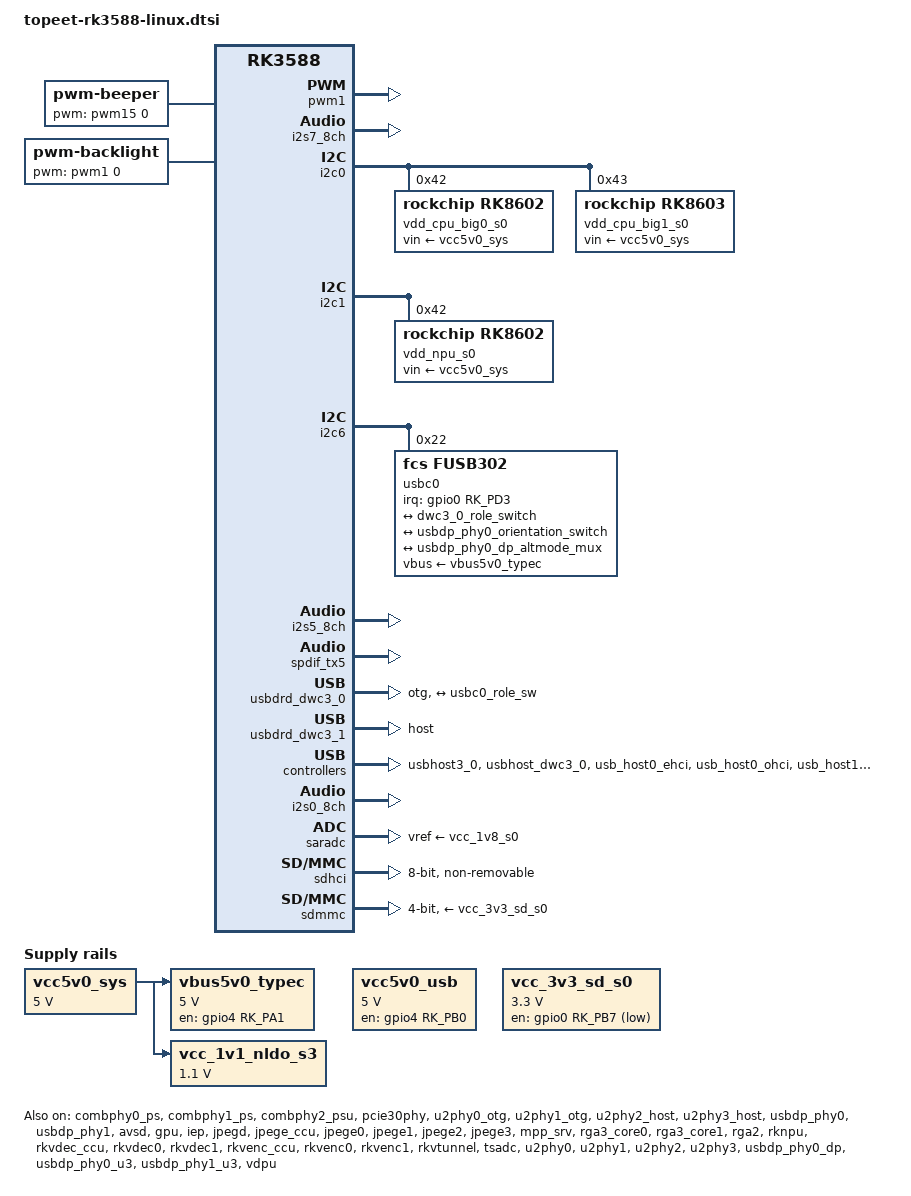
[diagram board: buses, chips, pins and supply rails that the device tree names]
// SPDX-License-Identifier: (GPL-2.0+ OR MIT)
/*
 * Copyright (c) 2021 Rockchip Electronics Co., Ltd.
 *
 */
#include <dt-bindings/gpio/gpio.h>
#include <dt-bindings/pwm/pwm.h>
#include <dt-bindings/pinctrl/rockchip.h>
#include <dt-bindings/input/rk-input.h>
#include <dt-bindings/display/drm_mipi_dsi.h>
#include <dt-bindings/display/rockchip_vop.h>
#include <dt-bindings/sensor-dev.h>
#include "dt-bindings/usb/pd.h"
#include "rk3588.dtsi"
#include "rk3588-rk806-single.dtsi"

/ {
	// HDMI0声卡
	hdmi0_sound: hdmi0-sound {
		status = "disabled";
		compatible = "rockchip,hdmi";
		rockchip,mclk-fs = <128>;
		rockchip,card-name = "rockchip-hdmi0";
		rockchip,cpu = <&i2s5_8ch>;
		rockchip,codec = <&hdmi0>;
		rockchip,jack-det;
	};

	// HDMI1声卡
	hdmi1_sound: hdmi1-sound {
		status = "disabled";
		compatible = "rockchip,hdmi";
		rockchip,mclk-fs = <128>;
		rockchip,card-name = "rockchip-hdmi1";
		rockchip,cpu = <&i2s6_8ch>;
		rockchip,codec = <&hdmi1>;
		rockchip,jack-det;
	};

	// DP0声卡
	dp0_sound: dp0-sound {
		status = "disabled";
		compatible = "rockchip,hdmi";
		rockchip,card-name= "rockchip-dp0";
		rockchip,mclk-fs = <512>;
		rockchip,cpu = <&spdif_tx2>;
		rockchip,codec = <&dp0 1>;
		rockchip,jack-det;
	};

	//HDMI in
    hdmiin-sound {
        compatible = "rockchip,hdmi";
        rockchip,mclk-fs = <128>;
        rockchip,format = "i2s";
        rockchip,bitclock-master = <&hdmirx_ctrler>;
        rockchip,frame-master = <&hdmirx_ctrler>;
        rockchip,card-name = "rockchip,hdmiin";
        rockchip,cpu = <&i2s7_8ch>;
        rockchip,codec = <&hdmirx_ctrler 0>;
        rockchip,jack-det;
    };

	// 5V系统供电
	vcc5v0_sys: vcc5v0-sys {
		compatible = "regulator-fixed";
		regulator-name = "vcc5v0_sys";
		regulator-always-on;
		regulator-boot-on;
		regulator-min-microvolt = <5000000>;
		regulator-max-microvolt = <5000000>;
	};

	//USB2.0 3.0 5V供电
	vcc5v0_usb: vcc5v0-usb {
		compatible = "regulator-fixed";
		regulator-name = "vcc5v0_usb";
		regulator-always-on;
		regulator-boot-on;
		enable-active-high;
		regulator-min-microvolt = <5000000>;
		regulator-max-microvolt = <5000000>;
		gpio = <&gpio4 RK_PB0 GPIO_ACTIVE_HIGH>;
	};

	//TYPEC 5V供电
	vbus5v0_typec: vbus5v0-typec {
		compatible = "regulator-fixed";
		regulator-name = "vbus5v0_typec";
		regulator-min-microvolt = <5000000>;
		regulator-max-microvolt = <5000000>;
        	//regulator-boot-on;
        	enable-active-high;
        	//regulator-always-on;
		gpio = <&gpio4 RK_PA1 GPIO_ACTIVE_HIGH>;
		vin-supply = <&vcc5v0_sys>;
		pinctrl-names = "default";
		pinctrl-0 = <&typec5v_pwren>;
	};

	//SD卡供电
	vcc_3v3_sd_s0: vcc-3v3-sd-s0-regulator {
		compatible = "regulator-fixed";
		/* The VCC_SD load-switch enable on this board is active low. */
		gpio = <&gpio0 RK_PB7 GPIO_ACTIVE_LOW>;
		pinctrl-names = "default";
		pinctrl-0 = <&sd_s0_pwr>;
		regulator-name = "vcc_3v3_sd_s0";
		regulator-boot-on;
		regulator-min-microvolt = <3300000>;
		regulator-max-microvolt = <3300000>;
		startup-delay-us = <200000>;
	};

	vcc_1v1_nldo_s3: vcc-1v1-nldo-s3 {
		compatible = "regulator-fixed";
		regulator-name = "vcc_1v1_nldo_s3";
		regulator-always-on;
		regulator-boot-on;
		regulator-min-microvolt = <1100000>;
		regulator-max-microvolt = <1100000>;
		vin-supply = <&vcc5v0_sys>;
	};

	//蜂鸣器
	beeper: pwm-beeper {
		compatible = "pwm-beeper";
		pwms = <&pwm15 0 500000 0>;
		beeper-hz = <1000>;
		status = "okay";
	};

	//屏幕背光
	backlight: backlight {
		compatible = "pwm-backlight";
		pwms = <&pwm1 0 25000 0>;
		brightness-levels = <
			  0  20  20  21  21  22  22  23
			 23  24  24  25  25  26  26  27
			 27  28  28  29  29  30  30  31
			 31  32  32  33  33  34  34  35
			 35  36  36  37  37  38  38  39
			 40  41  42  43  44  45  46  47
			 48  49  50  51  52  53  54  55
			 56  57  58  59  60  61  62  63
			 64  65  66  67  68  69  70  71
			 72  73  74  75  76  77  78  79
			 80  81  82  83  84  85  86  87
			 88  89  90  91  92  93  94  95
			 96  97  98  99 100 101 102 103
			104 105 106 107 108 109 110 111
			112 113 114 115 116 117 118 119
			120 121 122 123 124 125 126 127
			128 129 130 131 132 133 134 135
			136 137 138 139 140 141 142 143
			144 145 146 147 148 149 150 151
			152 153 154 155 156 157 158 159
			160 161 162 163 164 165 166 167
			168 169 170 171 172 173 174 175
			176 177 178 179 180 181 182 183
			184 185 186 187 188 189 190 191
			192 193 194 195 196 197 198 199
			200 201 202 203 204 205 206 207
			208 209 210 211 212 213 214 215
			216 217 218 219 220 221 222 223
			224 225 226 227 228 229 230 231
			232 233 234 235 236 237 238 239
			240 241 242 243 244 245 246 247
			248 249 250 251 252 253 254 255
		>;
		default-brightness-level = <200>;
	};

};

&backlight {
	status = "okay";
};

&pwm1 {
	status = "okay";
};

&i2s7_8ch {
        status = "okay";
};

&i2c0 {
	status = "okay";
	pinctrl-names = "default";
	pinctrl-0 = <&i2c0m2_xfer>;

	vdd_cpu_big0_s0: vdd_cpu_big0_mem_s0: rk8602@42 {
		compatible = "rockchip,rk8602";
		reg = <0x42>;
		vin-supply = <&vcc5v0_sys>;
		regulator-compatible = "rk860x-reg";
		regulator-name = "vdd_cpu_big0_s0";
		regulator-min-microvolt = <550000>;
		regulator-max-microvolt = <1050000>;
		regulator-ramp-delay = <2300>;
		rockchip,suspend-voltage-selector = <1>;
		regulator-boot-on;
		regulator-always-on;
		regulator-state-mem {
			regulator-off-in-suspend;
		};
	};

	vdd_cpu_big1_s0: vdd_cpu_big1_mem_s0: rk8603@43 {
		compatible = "rockchip,rk8603";
		reg = <0x43>;
		vin-supply = <&vcc5v0_sys>;
		regulator-compatible = "rk860x-reg";
		regulator-name = "vdd_cpu_big1_s0";
		regulator-min-microvolt = <550000>;
		regulator-max-microvolt = <1050000>;
		regulator-ramp-delay = <2300>;
		rockchip,suspend-voltage-selector = <1>;
		regulator-boot-on;
		regulator-always-on;
		regulator-state-mem {
			regulator-off-in-suspend;
		};
	};
};

&i2c1 {
	status = "okay";
	pinctrl-names = "default";
	pinctrl-0 = <&i2c1m2_xfer>;

	vdd_npu_s0: vdd_npu_mem_s0: rk8602@42 {
		compatible = "rockchip,rk8602";
		reg = <0x42>;
		vin-supply = <&vcc5v0_sys>;
		regulator-compatible = "rk860x-reg";
		regulator-name = "vdd_npu_s0";
		regulator-min-microvolt = <550000>;
		regulator-max-microvolt = <950000>;
		regulator-ramp-delay = <2300>;
		rockchip,suspend-voltage-selector = <1>;
		regulator-boot-on;
		regulator-always-on;
		regulator-state-mem {
			regulator-off-in-suspend;
		};
	};
};


&combphy0_ps {
	status = "okay";
};

&combphy1_ps {
	status = "okay";
};

&combphy2_psu {
	status = "okay";
};


&i2c6 {
	status = "okay";

		usbc0: fusb302@22 {
			compatible = "fcs,fusb302";
			reg = <0x22>;
			interrupt-parent = <&gpio0>;
			interrupts = <RK_PD3 IRQ_TYPE_LEVEL_LOW>;
			pinctrl-names = "default";
			pinctrl-0 = <&usbc0_int>;
			vbus-supply = <&vbus5v0_typec>;
			status = "okay";

			ports {
					#address-cells = <1>;
					#size-cells = <0>;

					port@0 {
							reg = <0>;
							usbc0_role_sw: endpoint@0 {
									remote-endpoint = <&dwc3_0_role_switch>;
							};
					};
			};

			usb_con: connector {
					compatible = "usb-c-connector";
					label = "USB-C";
					data-role = "dual";
					power-role = "dual";
					try-power-role = "sink";
					op-sink-microwatt = <1000000>;
					
					sink-pdos =<PDO_FIXED(5000, 1000, PDO_FIXED_USB_COMM)>;
					source-pdos =<PDO_FIXED(5000, 1000, PDO_FIXED_USB_COMM)>;

					altmodes {
							#address-cells = <1>;
							#size-cells = <0>;

							altmode@0 {
									reg = <0>;
									svid = <0xff01>;
									vdo = <0xffffffff>;
							};
					};

					ports {
							#address-cells = <1>;
							#size-cells = <0>;

							port@0 {
									reg = <0>;
									usbc0_orien_sw: endpoint {
											remote-endpoint = <&usbdp_phy0_orientation_switch>;
									};
							};

							port@1 {
									reg = <1>;
									dp_altmode_mux: endpoint {
											remote-endpoint = <&usbdp_phy0_dp_altmode_mux>;
									};
							};

					};
			};
	};
};

&i2s5_8ch {
	status = "okay";
};

&pcie30phy {
	status = "okay";
};


&pinctrl {
	usb-typec {
		usbc0_int: usbc0-int {
			rockchip,pins = <0 RK_PD3 RK_FUNC_GPIO &pcfg_pull_up>;
		};

		typec5v_pwren: typec5v-pwren {
			rockchip,pins = <4 RK_PA1 RK_FUNC_GPIO &pcfg_pull_none>;
		};
	};

	sdmmc {
		sd_s0_pwr: sd-s0-pwr {
			rockchip,pins = <0 RK_PB7 RK_FUNC_GPIO &pcfg_pull_up>;
		};

		/* Prevent SD-card back-powering through CMD/CLK/DAT[0:3]. */
		sdmmc_idle_pins: sdmmc-idle-pins {
			rockchip,pins =
				<4 RK_PD0 RK_FUNC_GPIO &pcfg_pull_down>,
				<4 RK_PD1 RK_FUNC_GPIO &pcfg_pull_down>,
				<4 RK_PD2 RK_FUNC_GPIO &pcfg_pull_down>,
				<4 RK_PD3 RK_FUNC_GPIO &pcfg_pull_down>,
				<4 RK_PD4 RK_FUNC_GPIO &pcfg_pull_down>,
				<4 RK_PD5 RK_FUNC_GPIO &pcfg_pull_down>;
		};
	};
};


&spdif_tx5 {
	status = "okay";
};

&u2phy0_otg {
	rockchip,typec-vbus-det;
};

&u2phy1_otg {
        status = "okay";
};

&u2phy2_host {
        status = "okay";
};

&u2phy3_host {
        status = "okay";
};

&usbdp_phy0 {
	status = "okay";
	orientation-switch;
	mode-switch;
	rockchip,dp-lane-mux = <0 1 2 3>;
	svid = <0xff01>;
	sbu1-dc-gpios = <&gpio4 RK_PA6 GPIO_ACTIVE_HIGH>;
	sbu2-dc-gpios = <&gpio4 RK_PA7 GPIO_ACTIVE_HIGH>;

	port {
		#address-cells = <1>;
		#size-cells = <0>;
		usbdp_phy0_orientation_switch: endpoint@0 {
			reg = <0>;
			remote-endpoint = <&usbc0_orien_sw>;
		};

		usbdp_phy0_dp_altmode_mux: endpoint@1 {
			reg = <1>;
			remote-endpoint = <&dp_altmode_mux>;
		};
	};
};


&usbdrd_dwc3_0 {
	status = "okay";
	dr_mode = "otg";
	usb-role-switch;
	port {
		#address-cells = <1>;
		#size-cells = <0>;
		dwc3_0_role_switch: endpoint@0 {
			reg = <0>;
			remote-endpoint = <&usbc0_role_sw>;
		};
	};
};

&usbdp_phy1 {
        status = "okay";
};


&usbdrd_dwc3_1 {
        status = "okay";
        dr_mode = "host";
};


&usbhost3_0 {
        status = "okay";
};

&usbhost_dwc3_0 {
        status = "okay";
};
&av1d_mmu {
	status = "okay";
};

&avsd {
	status = "okay";
};

&cpu_l0 {
	cpu-supply = <&vdd_cpu_lit_s0>;
	mem-supply = <&vdd_cpu_lit_mem_s0>;
};

&cpu_b0 {
	cpu-supply = <&vdd_cpu_big0_s0>;
	mem-supply = <&vdd_cpu_big0_mem_s0>;
};

&cpu_b2 {
	cpu-supply = <&vdd_cpu_big1_s0>;
	mem-supply = <&vdd_cpu_big1_mem_s0>;
};


&gpu {
	mali-supply = <&vdd_gpu_s0>;
	mem-supply = <&vdd_gpu_mem_s0>;
	status = "okay";
};

&i2s0_8ch {
	status = "okay";
	pinctrl-0 = <&i2s0_lrck
		     &i2s0_sclk
		     &i2s0_sdi0
		     &i2s0_sdo0>;
};

&iep {
	status = "okay";
};

&iep_mmu {
	status = "okay";
};

&jpegd {
	status = "okay";
};

&jpegd_mmu {
	status = "okay";
};

&jpege_ccu {
	status = "okay";
};

&jpege0 {
	status = "okay";
};

&jpege0_mmu {
	status = "okay";
};

&jpege1 {
	status = "okay";
};

&jpege1_mmu {
	status = "okay";
};

&jpege2 {
	status = "okay";
};

&jpege2_mmu {
	status = "okay";
};

&jpege3 {
	status = "okay";
};

&jpege3_mmu {
	status = "okay";
};

&mpp_srv {
	status = "okay";
};

&rga3_core0 {
	status = "okay";
};

&rga3_0_mmu {
	status = "okay";
};

&rga3_core1 {
	status = "okay";
};

&rga3_1_mmu {
	status = "okay";
};

&rga2 {
	status = "okay";
};

&rknpu {
	rknpu-supply = <&vdd_npu_s0>;
	mem-supply = <&vdd_npu_mem_s0>;
	status = "okay";
};

&rknpu_mmu {
	status = "okay";
};

&rkvdec_ccu {
	status = "okay";
};

&rkvdec0 {
	status = "okay";
};

&rkvdec0_mmu {
	status = "okay";
};

&rkvdec1 {
	status = "okay";
};

&rkvdec1_mmu {
	status = "okay";
};

&rkvenc_ccu {
	status = "okay";
};

&rkvenc0 {
	venc-supply = <&vdd_vdenc_s0>;
	mem-supply = <&vdd_vdenc_mem_s0>;
	status = "okay";
};

&rkvenc0_mmu {
	status = "okay";
};

&rkvenc1 {
	venc-supply = <&vdd_vdenc_s0>;
	mem-supply = <&vdd_vdenc_mem_s0>;
	status = "okay";
};

&rkvenc1_mmu {
	status = "okay";
};

&rkvtunnel {
	status = "okay";
};

&rockchip_suspend {
	status = "okay";
	rockchip,sleep-debug-en = <1>;
};

&saradc {
	status = "okay";
	vref-supply = <&vcc_1v8_s0>;
};

&sdhci {
	bus-width = <8>;
	no-sdio;
	no-sd;
	non-removable;
	max-frequency = <200000000>;
	mmc-hs400-1_8v;
	mmc-hs400-enhanced-strobe;
	full-pwr-cycle-in-suspend;
	status = "okay";
};

&sdmmc {
	max-frequency = <150000000>;
	no-sdio;
	no-mmc;
	bus-width = <4>;
	cap-mmc-highspeed;
	cap-sd-highspeed;
	disable-wp;
	sd-uhs-sdr104;
	pinctrl-names = "normal", "idle";
	pinctrl-0 = <&sdmmc_clk &sdmmc_cmd &sdmmc_det &sdmmc_bus4>;
	pinctrl-1 = <&sdmmc_idle_pins &sdmmc_det>;
	vmmc-supply = <&vcc_3v3_sd_s0>;
	vqmmc-supply = <&vccio_sd_s0>;
	status = "okay";
};

&tsadc {
	status = "okay";
};

&u2phy0 {
	status = "okay";
};

&u2phy1 {
	status = "okay";
};

&u2phy2 {
	status = "okay";
};

&u2phy3 {
	status = "okay";
};

&u2phy0_otg {
	status = "okay";
};

&u2phy1_otg {
	status = "okay";
};

&u2phy2_host {
	status = "okay";
};

&u2phy3_host {
	status = "okay";
};

&usb_host0_ehci {
	status = "okay";
};

&usb_host0_ohci {
	status = "okay";
};

&usb_host1_ehci {
	status = "okay";
};

&usb_host1_ohci {
	status = "okay";
};

&usbdp_phy0_dp {
	status = "okay";
};

&usbdp_phy0_u3 {
	status = "okay";
};

&usbdp_phy1 {
	status = "okay";
};

&usbdp_phy1_dp {
	status = "disabled";
};

&usbdp_phy1_u3 {
	status = "okay";
};

&usbdrd3_0 {
	status = "okay";
};


&usbhost3_0 {
	status = "okay";
};

&usbhost_dwc3_0 {
	status = "okay";
};

&usbdrd3_1 {
	status = "okay";
};


&vdpu {
	status = "okay";
};

&vdpu_mmu {
	status = "okay";
};

&vepu {
	status = "okay";
};

&vop {
	status = "okay";
};

&vop_mmu {
	status = "okay";
};

/* vp0 & vp1 splice for 8K output */
&vp0 {
	rockchip,plane-mask = <(1 << ROCKCHIP_VOP2_CLUSTER0 | 1 << ROCKCHIP_VOP2_ESMART0)>;
	rockchip,primary-plane = <ROCKCHIP_VOP2_ESMART0>;
};

&vp1 {
	rockchip,plane-mask = <(1 << ROCKCHIP_VOP2_CLUSTER1 | 1 << ROCKCHIP_VOP2_ESMART1)>;
	rockchip,primary-plane = <ROCKCHIP_VOP2_ESMART1>;
};

&vp2 {
	rockchip,plane-mask = <(1 << ROCKCHIP_VOP2_CLUSTER2 | 1 << ROCKCHIP_VOP2_ESMART2)>;
	rockchip,primary-plane = <ROCKCHIP_VOP2_ESMART2>;
};

&vp3 {
	rockchip,plane-mask = <(1 << ROCKCHIP_VOP2_CLUSTER3 | 1 << ROCKCHIP_VOP2_ESMART3)>;
	rockchip,primary-plane = <ROCKCHIP_VOP2_ESMART3>;
};
